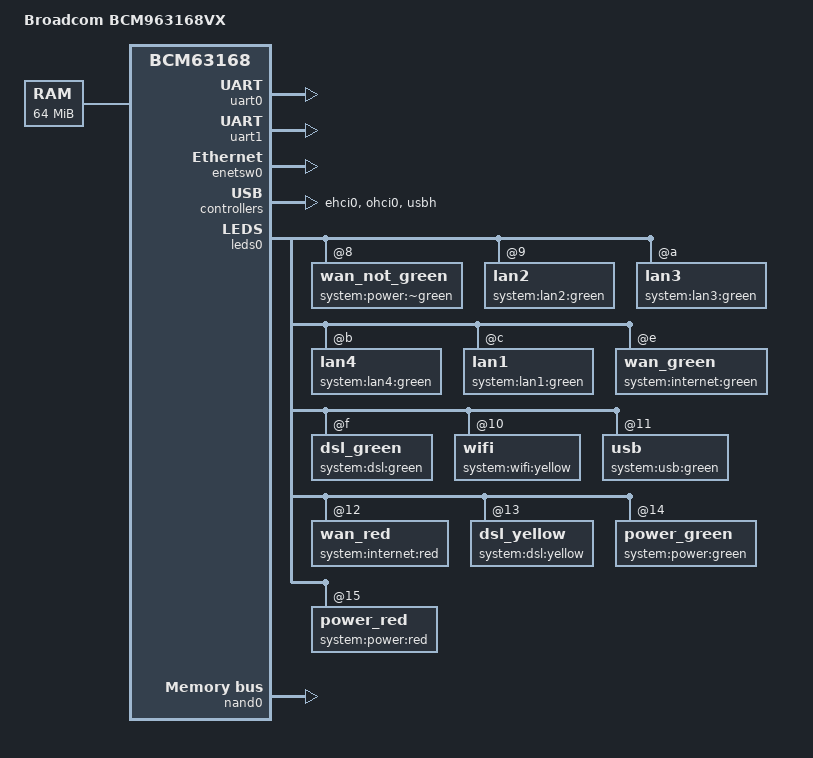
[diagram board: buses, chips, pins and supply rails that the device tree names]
/dts-v1/;

/include/ "bcm63168.dtsi"

/ {
	compatible = "brcm,bcm963168vx", "brcm,bcm963268", "brcm,bcm63168";
	model = "Broadcom BCM963168VX";

	memory@0 {
		device_type = "memory";
		reg = <0x00000000 0x04000000>;
	};

	chosen {
		bootargs = "console=ttyS0,115200";
		stdout-path = "/ubus/serial@10000180:115200";
	};
};

&uart0 {
	status = "okay";
};

&uart1 {
	status = "okay";
};

&enetdma0 {
	status = "okay";
};

&enetsw0 {
	status = "okay";
};

&ehci0 {
	status = "okay";
};

&ohci0 {
	status = "okay";
};

&usbh {
	status = "okay";
};

&leds0 {
	/* supresses wan_green when active */
	wan_not_green@8 {
		reg = <8>;
		label = "system:power:~green";
		default-state = "off";
		// brcm,hardware-controlled;
	};

	lan2@9 {
		reg = <9>;
		label = "system:lan2:green";
		active-low;
		brcm,hardware-controlled;
	};

	lan3@10 {
		reg = <10>;
		label = "system:lan3:green";
		active-low;
		brcm,hardware-controlled;
	};

	lan4@11 {
		reg = <11>;
		label = "system:lan4:green";
		active-low;
		brcm,hardware-controlled;
	};

	lan1@12 {
		reg = <12>;
		label = "system:lan1:green";
		active-low;
		brcm,hardware-controlled;
	};

	wan_green@14 {
		reg = <14>;
		label = "system:internet:green";
		default-state = "off";
	};

	dsl_green@15 {
		reg = <15>;
		label = "system:dsl:green";
		default-state = "off";
	};

	wifi@16 {
		reg = <16>;
		label = "system:wifi:yellow";
		default-state = "off";
	};

	/* depends on GPIO->PinMuxSel configuration */
	usb@17 {
		reg = <17>;
		label = "system:usb:green";
		brcm,hardware-controlled;
	};

	wan_red@18 {
		reg = <18>;
		label = "system:internet:red";
		default-state = "off";
	};

	/* depends on GPIO->PinMuxSel configuration */
	dsl_yellow@19 {
		reg = <19>;
		label = "system:dsl:yellow";
		default-state = "off";
	};

	power_green@20 {
		reg = <20>;
		label = "system:power:green";
		default-state = "on";
	};

	power_red@21 {
		reg = <21>;
		active-low;
		label = "system:power:red";
		default-state = "off";
	};
};

&nand0 {
	status = "okay";
};
